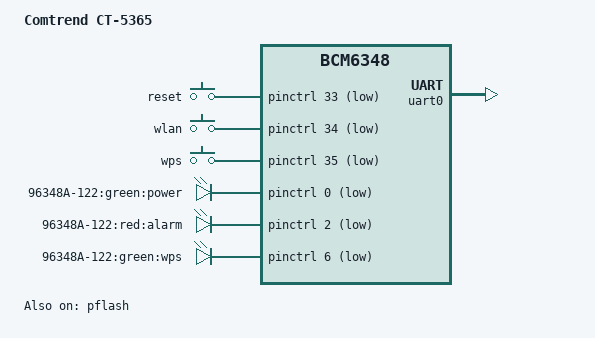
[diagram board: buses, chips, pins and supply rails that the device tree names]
/dts-v1/;

#include "bcm6348.dtsi"

#include <dt-bindings/input/input.h>

/ {
	model = "Comtrend CT-5365";
	compatible = "comtrend,ct-5365", "brcm,bcm6348";

	chosen {
		bootargs = "rootfstype=squashfs,jffs2 noinitrd console=ttyS0,115200";
		stdout-path = "serial0:115200n8";
	};

	keys {
		compatible = "gpio-keys-polled";
		#address-cells = <1>;
		#size-cells = <0>;
		poll-interval = <20>;

		reset {
			label = "reset";
			gpios = <&pinctrl 33 1>;
			linux,code = <KEY_RESTART>;
			debounce-interval = <60>;
		};

		wlan {
			label = "wlan";
			gpios = <&pinctrl 34 1>;
			linux,code = <KEY_WLAN>;
			debounce-interval = <60>;
		};

		wps {
			label = "wps";
			gpios = <&pinctrl 35 1>;
			linux,code = <KEY_WPS_BUTTON>;
			debounce-interval = <60>;
		};
	};

	leds {
		compatible = "gpio-leds";

		power_green {
			label = "96348A-122:green:power";
			gpios = <&pinctrl 0 1>;
			default-state = "on";
		};
		alarm_red {
			label = "96348A-122:red:alarm";
			gpios = <&pinctrl 2 1>;
		};
		wps_green {
			label = "96348A-122:green:wps";
			gpios = <&pinctrl 6 1>;
		};
	};
};

&pflash {
	status = "ok";

	partitions {
		compatible = "fixed-partitions";
		#address-cells = <1>;
		#size-cells = <1>;

		cfe@0 {
			label = "CFE";
			reg = <0x000000 0x010000>;
			read-only;
		};

		linux@10000 {
			label = "linux";
			reg = <0x010000 0x3e0000>;
			compatible = "brcm,bcm963xx-imagetag";
		};

		nvram@3f0000 {
			label = "nvram";
			reg = <0x3f0000 0x010000>;
		};
	};
};

&pinctrl {
	pinctrl-names = "default";
	pinctrl-0 = <&pinctrl_pci &pinctrl_ext_mii>;
};

&uart0 {
	status = "ok";
};
